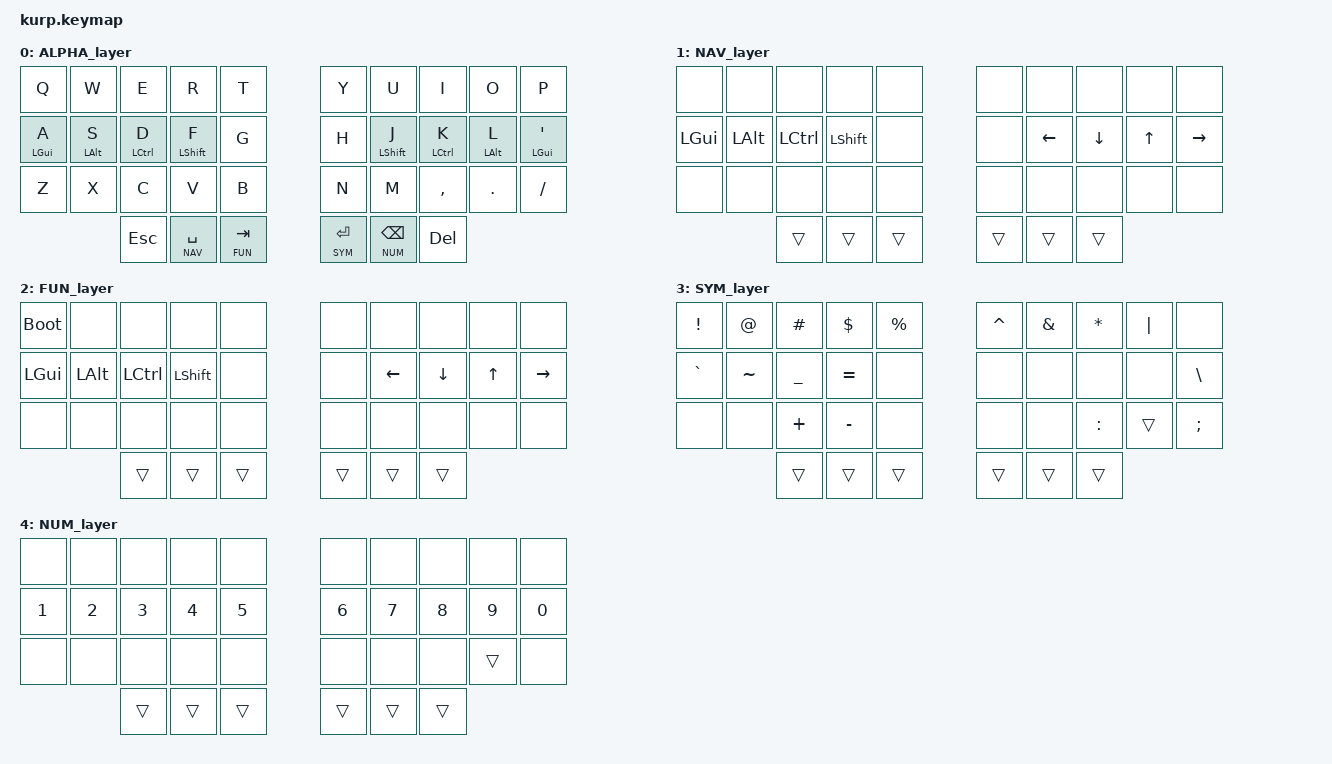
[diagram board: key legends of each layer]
/*
 * Copyright (c) 2023 The ZMK Contributors
 *
 * SPDX-License-Identifier: MIT
 */

#include <behaviors.dtsi>
#include <dt-bindings/zmk/keys.h>
#include <dt-bindings/zmk/bt.h>
#include <dt-bindings/zmk/outputs.h>

#define ALPHA  0
#define NAV    1
#define FUN    2
#define SYM    3
#define NUM    4

&mt {
    flavor = "tap-preferred";
    tapping_term_ms = <180>;
};

&lt {
    tapping_term_ms = <150>;
};

/ {
    keymap {
        compatible = "zmk,keymap";

        ALPHA_layer {
            bindings = <
                &kp Q        &kp W        &kp E         &kp R           &kp T         &kp Y         &kp U          &kp I         &kp O        &kp P
                &mt LGUI A   &mt LALT S   &mt LCTRL D   &mt LSHFT F     &kp G         &kp H         &mt LSHFT J    &mt LCTRL K   &mt LALT L   &mt LGUI SQT
                &kp Z        &kp X        &kp C         &kp V           &kp B         &kp N         &kp M          &kp COMMA     &kp DOT      &kp SLASH
                                          &kp ESC       &lt NAV SPACE   &lt FUN TAB   &lt SYM RET   &lt NUM BSPC   &kp DEL
            >;
        };

        NAV_layer {
            bindings = <
                &none           &none           &none           &none           &none           &none       &none       &none       &none       &none 
                &kp LGUI        &kp LALT        &kp LCTRL       &kp LSHFT       &none           &none       &kp LEFT    &kp DOWN    &kp UP      &kp RIGHT
                &none           &none           &none           &none           &none           &none       &none       &none       &none       &none    
                                                &trans          &trans          &trans          &trans      &trans      &trans
            >;
        };
        
        FUN_layer {
            bindings = <
                &bootloader     &none           &none           &none           &none           &none       &none       &none       &none       &none 
                &kp LGUI        &kp LALT        &kp LCTRL       &kp LSHFT       &none           &none       &kp LEFT    &kp DOWN    &kp UP      &kp RIGHT
                &none           &none           &none           &none           &none           &none       &none       &none       &none       &none    
                                                &trans          &trans          &trans          &trans      &trans      &trans
            >;
        };

        SYM_layer {
            bindings = <
                &kp EXCL    &kp AT      &kp HASH    &kp DLLR    &kp PRCNT   &kp CARET   &kp AMPS    &kp STAR    &kp PIPE    &none
                &kp GRAVE   &kp TILDE   &kp UNDER   &kp EQUAL   &none       &none       &none       &none       &none       &kp BSLH
                &none       &none       &kp PLUS    &kp MINUS   &none       &none       &none       &kp COLON   &trans      &kp SEMI
                                        &trans      &trans      &trans      &trans      &trans      &trans
            >;
        };

        NUM_layer {
            bindings = <
                &none       &none       &none       &none       &none       &none       &none       &none       &none       &none
                &kp N1      &kp N2      &kp N3      &kp N4      &kp N5      &kp N6      &kp N7      &kp N8      &kp N9      &kp N0
                &none       &none       &none       &none       &none       &none       &none       &none       &trans      &none
                                        &trans      &trans      &trans      &trans      &trans      &trans
            >;
        };


    };
};
